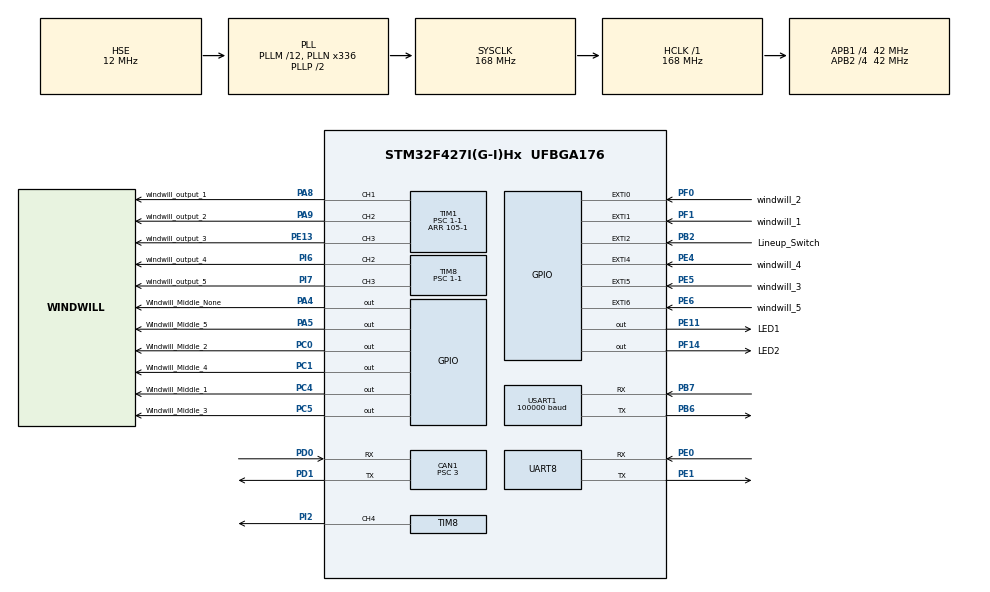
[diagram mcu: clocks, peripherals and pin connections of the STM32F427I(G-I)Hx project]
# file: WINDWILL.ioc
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CAN1.ABOM=ENABLE
CAN1.BS1=CAN_BS1_9TQ
CAN1.BS2=CAN_BS2_4TQ
CAN1.CalculateTimeQuantum=71.42857142857143
CAN1.Prescaler=3
Dma.Request0=TIM1_CH1
Dma.Request1=TIM1_CH2
Dma.Request2=TIM8_CH2
Dma.Request3=TIM8_CH3
Dma.Request4=TIM1_CH3
Dma.Request5=USART1_RX
Dma.Request6=TIM8_CH4/TRIG/COM
Dma.TIM1_CH1.0.Direction=DMA_MEMORY_TO_PERIPH
Dma.TIM1_CH1.0.FIFOMode=DMA_FIFOMODE_DISABLE
Dma.TIM1_CH1.0.Instance=DMA2_Stream1
Dma.TIM1_CH1.0.MemDataAlignment=DMA_MDATAALIGN_HALFWORD
Dma.TIM1_CH1.0.MemInc=DMA_MINC_ENABLE
Dma.TIM1_CH1.0.Mode=DMA_CIRCULAR
Dma.TIM1_CH1.0.PeriphDataAlignment=DMA_PDATAALIGN_HALFWORD
Dma.TIM1_CH1.0.PeriphInc=DMA_PINC_DISABLE
Dma.TIM1_CH1.0.Priority=DMA_PRIORITY_LOW
Dma.TIM1_CH2.1.Direction=DMA_MEMORY_TO_PERIPH
Dma.TIM1_CH2.1.FIFOMode=DMA_FIFOMODE_DISABLE
Dma.TIM1_CH2.1.Instance=DMA2_Stream2
Dma.TIM1_CH2.1.MemDataAlignment=DMA_MDATAALIGN_HALFWORD
Dma.TIM1_CH2.1.MemInc=DMA_MINC_ENABLE
Dma.TIM1_CH2.1.Mode=DMA_CIRCULAR
Dma.TIM1_CH2.1.PeriphDataAlignment=DMA_PDATAALIGN_HALFWORD
Dma.TIM1_CH2.1.PeriphInc=DMA_PINC_DISABLE
Dma.TIM1_CH2.1.Priority=DMA_PRIORITY_LOW
Dma.TIM1_CH3.4.Direction=DMA_MEMORY_TO_PERIPH
Dma.TIM1_CH3.4.FIFOMode=DMA_FIFOMODE_DISABLE
Dma.TIM1_CH3.4.Instance=DMA2_Stream6
Dma.TIM1_CH3.4.MemDataAlignment=DMA_MDATAALIGN_HALFWORD
Dma.TIM1_CH3.4.MemInc=DMA_MINC_ENABLE
Dma.TIM1_CH3.4.Mode=DMA_CIRCULAR
Dma.TIM1_CH3.4.PeriphDataAlignment=DMA_PDATAALIGN_HALFWORD
Dma.TIM1_CH3.4.PeriphInc=DMA_PINC_DISABLE
Dma.TIM1_CH3.4.Priority=DMA_PRIORITY_LOW
Dma.TIM8_CH2.2.Direction=DMA_MEMORY_TO_PERIPH
Dma.TIM8_CH2.2.FIFOMode=DMA_FIFOMODE_DISABLE
Dma.TIM8_CH2.2.Instance=DMA2_Stream3
Dma.TIM8_CH2.2.MemDataAlignment=DMA_MDATAALIGN_HALFWORD
Dma.TIM8_CH2.2.MemInc=DMA_MINC_ENABLE
Dma.TIM8_CH2.2.Mode=DMA_CIRCULAR
Dma.TIM8_CH2.2.PeriphDataAlignment=DMA_PDATAALIGN_HALFWORD
Dma.TIM8_CH2.2.PeriphInc=DMA_PINC_DISABLE
Dma.TIM8_CH2.2.Priority=DMA_PRIORITY_LOW
Dma.TIM8_CH3.3.Direction=DMA_MEMORY_TO_PERIPH
Dma.TIM8_CH3.3.FIFOMode=DMA_FIFOMODE_DISABLE
Dma.TIM8_CH3.3.Instance=DMA2_Stream4
Dma.TIM8_CH3.3.MemDataAlignment=DMA_MDATAALIGN_HALFWORD
Dma.TIM8_CH3.3.MemInc=DMA_MINC_ENABLE
Dma.TIM8_CH3.3.Mode=DMA_CIRCULAR
Dma.TIM8_CH3.3.PeriphDataAlignment=DMA_PDATAALIGN_HALFWORD
Dma.TIM8_CH3.3.PeriphInc=DMA_PINC_DISABLE
Dma.TIM8_CH3.3.Priority=DMA_PRIORITY_LOW
Dma.TIM8_CH4/TRIG/COM.6.Direction=DMA_MEMORY_TO_PERIPH
Dma.TIM8_CH4/TRIG/COM.6.FIFOMode=DMA_FIFOMODE_DISABLE
Dma.TIM8_CH4/TRIG/COM.6.Instance=DMA2_Stream7
Dma.TIM8_CH4/TRIG/COM.6.MemDataAlignment=DMA_MDATAALIGN_HALFWORD
Dma.TIM8_CH4/TRIG/COM.6.MemInc=DMA_MINC_ENABLE
Dma.TIM8_CH4/TRIG/COM.6.Mode=DMA_CIRCULAR
Dma.TIM8_CH4/TRIG/COM.6.PeriphDataAlignment=DMA_PDATAALIGN_HALFWORD
Dma.TIM8_CH4/TRIG/COM.6.PeriphInc=DMA_PINC_DISABLE
Dma.TIM8_CH4/TRIG/COM.6.Priority=DMA_PRIORITY_LOW
Dma.USART1_RX.5.Direction=DMA_PERIPH_TO_MEMORY
Dma.USART1_RX.5.FIFOMode=DMA_FIFOMODE_DISABLE
Dma.USART1_RX.5.Instance=DMA2_Stream5
Dma.USART1_RX.5.MemDataAlignment=DMA_MDATAALIGN_BYTE
Dma.USART1_RX.5.MemInc=DMA_MINC_ENABLE
Dma.USART1_RX.5.Mode=DMA_NORMAL
Dma.USART1_RX.5.PeriphDataAlignment=DMA_PDATAALIGN_BYTE
Dma.USART1_RX.5.PeriphInc=DMA_PINC_DISABLE
Dma.USART1_RX.5.Priority=DMA_PRIORITY_LOW
Mcu.Family=STM32F4
Mcu.Name=STM32F427I(G-I)Hx
Mcu.Package=UFBGA176
NVIC.CAN1_RX0_IRQn=true\:0\:0\:false\:false\:true\:true\:true
NVIC.CAN1_TX_IRQn=true\:0\:0\:true\:false\:true\:true\:true
NVIC.DMA2_Stream1_IRQn=true\:0\:0\:false\:false\:true\:false\:true
NVIC.DMA2_Stream2_IRQn=true\:0\:0\:false\:false\:true\:false\:true
NVIC.DMA2_Stream3_IRQn=true\:0\:0\:false\:false\:true\:false\:true
NVIC.DMA2_Stream4_IRQn=true\:0\:0\:false\:false\:true\:false\:true
NVIC.DMA2_Stream5_IRQn=true\:0\:0\:false\:false\:true\:false\:true
NVIC.DMA2_Stream6_IRQn=true\:0\:0\:false\:false\:true\:false\:true
NVIC.DMA2_Stream7_IRQn=true\:0\:0\:false\:false\:true\:false\:true
NVIC.EXTI0_IRQn=true\:1\:0\:true\:false\:true\:true\:true
NVIC.EXTI1_IRQn=true\:1\:0\:true\:false\:true\:true\:true
NVIC.EXTI2_IRQn=true\:1\:0\:true\:false\:true\:true\:true
NVIC.EXTI4_IRQn=true\:1\:0\:true\:false\:true\:true\:true
NVIC.EXTI9_5_IRQn=true\:1\:0\:true\:false\:true\:true\:true
NVIC.PriorityGroup=NVIC_PRIORITYGROUP_4
NVIC.TIM2_IRQn=true\:2\:0\:true\:false\:true\:true\:true
NVIC.USART1_IRQn=true\:0\:0\:false\:false\:true\:true\:true
PA13.Mode=Serial_Wire
PA13.Signal=SYS_JTMS-SWDIO
PA14.Mode=Serial_Wire
PA14.Signal=SYS_JTCK-SWCLK
PA4.GPIO_Label=Windwill_Middle_None
PA4.Signal=GPIO_Output
PA5.GPIO_Label=Windwill_Middle_5
PA5.Signal=GPIO_Output
PA8.GPIO_Label=windwill_output_1
PA8.Signal=S_TIM1_CH1
PA9.GPIO_Label=windwill_output_2
PA9.Signal=S_TIM1_CH2
PB2/BOOT1.GPIO_Label=Lineup_Switch
PB2/BOOT1.GPIO_ModeDefaultEXTI=GPIO_MODE_IT_RISING
PB2/BOOT1.GPIO_PuPd=GPIO_PULLDOWN
PB2/BOOT1.Signal=GPXTI2
PB6.Mode=Asynchronous
PB6.Signal=USART1_TX
PB7.Mode=Asynchronous
PB7.Signal=USART1_RX
PC0.GPIO_Label=Windwill_Middle_2
PC0.Signal=GPIO_Output
PC1.GPIO_Label=Windwill_Middle_4
PC1.Signal=GPIO_Output
PC4.GPIO_Label=Windwill_Middle_1
PC4.GPIO_PuPd=GPIO_PULLDOWN
PC4.GPIO_Speed=GPIO_SPEED_FREQ_LOW
PC4.Signal=GPIO_Output
PC5.GPIO_Label=Windwill_Middle_3
PC5.Signal=GPIO_Output
PD0.Mode=Master
PD0.Signal=CAN1_RX
PD1.Mode=Master
PD1.Signal=CAN1_TX
PE0.Mode=Asynchronous
PE0.Signal=UART8_RX
PE1.Mode=Asynchronous
PE1.Signal=UART8_TX
PE11.GPIO_Label=LED1
PE11.Signal=GPIO_Output
PE13.GPIO_Label=windwill_output_3
PE13.Signal=S_TIM1_CH3
PE4.GPIO_Label=windwill_4
PE4.GPIO_ModeDefaultEXTI=GPIO_MODE_IT_FALLING
PE4.GPIO_PuPd=GPIO_PULLUP
PE4.Signal=GPXTI4
PE5.GPIO_Label=windwill_3
PE5.GPIO_ModeDefaultEXTI=GPIO_MODE_IT_FALLING
PE5.GPIO_PuPd=GPIO_PULLUP
PE5.Signal=GPXTI5
PE6.GPIO_Label=windwill_5
PE6.GPIO_ModeDefaultEXTI=GPIO_MODE_IT_FALLING
PE6.GPIO_PuPd=GPIO_PULLUP
PE6.Signal=GPXTI6
PF0.GPIO_Label=windwill_2
PF0.GPIO_ModeDefaultEXTI=GPIO_MODE_IT_FALLING
PF0.GPIO_PuPd=GPIO_PULLUP
PF0.Signal=GPXTI0
PF1.GPIO_Label=windwill_1
PF1.GPIO_ModeDefaultEXTI=GPIO_MODE_IT_FALLING
PF1.GPIO_PuPd=GPIO_PULLUP
PF1.Signal=GPXTI1
PF14.GPIO_Label=LED2
PF14.Signal=GPIO_Output
PH0/OSC_IN.Mode=HSE-External-Oscillator
PH0/OSC_IN.Signal=RCC_OSC_IN
PH1/OSC_OUT.Mode=HSE-External-Oscillator
PH1/OSC_OUT.Signal=RCC_OSC_OUT
PI2.Signal=S_TIM8_CH4
PI6.GPIO_Label=windwill_output_4
PI6.Signal=S_TIM8_CH2
PI7.GPIO_Label=windwill_output_5
PI7.Signal=S_TIM8_CH3
ProjectManager.HeapSize=0x200
ProjectManager.StackSize=0x400
ProjectManager.TargetToolchain=STM32CubeIDE
RCC.48MHZClocksFreq_Value=84000000
RCC.AHBFreq_Value=168000000
RCC.APB1CLKDivider=RCC_HCLK_DIV4
RCC.APB1Freq_Value=42000000
RCC.APB1TimFreq_Value=84000000
RCC.APB2CLKDivider=RCC_HCLK_DIV4
RCC.APB2Freq_Value=42000000
RCC.APB2TimFreq_Value=84000000
RCC.CortexFreq_Value=168000000
RCC.HCLKFreq_Value=168000000
RCC.HSE_VALUE=12000000
RCC.HSI_VALUE=16000000
RCC.LSE_VALUE=32768
RCC.PLLM=12
RCC.PLLN=336
RCC.PLLSourceVirtual=RCC_PLLSOURCE_HSE
RCC.SYSCLKFreq_VALUE=168000000
RCC.SYSCLKSource=RCC_SYSCLKSOURCE_PLLCLK
RCC.VCOOutputFreq_Value=336000000
SH.S_TIM1_CH1.0=TIM1_CH1,PWM Generation1 CH1
SH.S_TIM1_CH2.0=TIM1_CH2,PWM Generation2 CH2
SH.S_TIM1_CH3.0=TIM1_CH3,PWM Generation3 CH3
SH.S_TIM8_CH2.0=TIM8_CH2,PWM Generation2 CH2
SH.S_TIM8_CH3.0=TIM8_CH3,PWM Generation3 CH3
SH.S_TIM8_CH4.0=TIM8_CH4,PWM Generation4 CH4
TIM1.Channel-PWM\ Generation1\ CH1=TIM_CHANNEL_1
TIM1.Channel-PWM\ Generation2\ CH2=TIM_CHANNEL_2
TIM1.Channel-PWM\ Generation3\ CH3=TIM_CHANNEL_3
TIM1.Period=105-1
TIM1.Prescaler=1-1
TIM1.Pulse-PWM\ Generation1\ CH1=0
TIM1.Pulse-PWM\ Generation2\ CH2=0
TIM1.Pulse-PWM\ Generation3\ CH3=0
TIM2.Period=500-1
TIM2.Prescaler=8400-1
TIM8.Channel-PWM\ Generation2\ CH2=TIM_CHANNEL_2
TIM8.Channel-PWM\ Generation3\ CH3=TIM_CHANNEL_3
TIM8.Channel-PWM\ Generation4\ CH4=TIM_CHANNEL_4
TIM8.Period=105-1
TIM8.Prescaler=1-1
TIM8.Pulse-PWM\ Generation2\ CH2=0
TIM8.Pulse-PWM\ Generation3\ CH3=0
UART8.VirtualMode=Asynchronous
USART1.BaudRate=100000
USART1.VirtualMode=VM_ASYNC
VP_TIM1_VS_ClockSourceINT.Mode=Internal
VP_TIM2_VS_ClockSourceINT.Mode=Internal
VP_TIM8_VS_ClockSourceINT.Mode=Internal
board=custom

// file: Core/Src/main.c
/* USER CODE BEGIN Header */
/**
  ******************************************************************************
  * @file           : main.c
  * @brief          : Main program body
  ******************************************************************************
  * @attention
  *
  * <h2><center>&copy; Copyright (c) 2021 STMicroelectronics.
  * All rights reserved.</center></h2>
  *
  * This software component is licensed by ST under BSD 3-Clause license,
  * the "License"; You may not use this file except in compliance with the
  * License. You may obtain a copy of the License at:
  *                        opensource.org/licenses/BSD-3-Clause
  *
  ******************************************************************************
  */
/* USER CODE END Header */
#include "main.h"
#include "can.h"
#include "dma.h"
#include "tim.h"
#include "usart.h"
#include "gpio.h"

/* USER CODE BEGIN Includes */
#include "lc_ws2812.h"
#include "lc_exit_nvic.h"
#include "lc_pwm.h"
#include "lc_tim_nvic.h"

#include "pid.h"
#include "bsp_can.h"
#include "bsp_usart.h"
#include "robomaster_vcan.h"

/* USER CODE END Includes */

/* USER CODE BEGIN PM */
  // 待打击装甲板编号
  uint8_t windwill_num = 1;
  // 打击状�?�判定（0为待打击�???1为打击完毕）
  uint8_t windwill_state = 0;
  // 打击完成标志
  uint8_t windwill_strike_completed = 0;

  pid_struct_t windwill_motor_PID ;
/* USER CODE END PM */

void SystemClock_Config(void);

int main(void)
{

  /* MCU Configuration--------------------------------------------------------*/

  /* Reset of all peripherals, Initializes the Flash interface and the Systick. */
  HAL_Init();

  /* Configure the system clock */
  SystemClock_Config();

  /* Initialize all configured peripherals */
  MX_GPIO_Init();
  MX_DMA_Init();
  MX_TIM1_Init();
  MX_TIM8_Init();
  MX_USART1_UART_Init();
  MX_CAN1_Init();
  MX_UART8_Init();
  MX_TIM2_Init();
  /* USER CODE BEGIN 2 */

  LC_Pwm_Init();						// 定时器PWM通道打开

//  GPIO_State_Init();					// 继电器初始化

  LC_Ws2812_Init();						// RGB相关初始�??

  ws2812_lamp_strip_Init();				// 灯条初始�?

  LC_TimInterrupt_Init();				// 定时器中断初始化

  ws2812_lamp_strip_Init();				// 灯条初始�?

  can_user_init(&hcan1);             	// CAN用户初始�??????

  pid_init(&windwill_motor_PID, DELTA_PID      //1号电�??????
								,10            		 //Kp
								,0            		 //Ki
								,0            		 //Kd
								,0 ,1300 ,0); //初始化底盘电机PID结构�??????

  /* USER CODE END 2 */

  /* Infinite loop */
  /* USER CODE BEGIN WHILE */

  while (1)
  {
	  motor_info[0].set_voltage = pid_calc(&windwill_motor_PID
								, 500
								,motor_info[0].set_voltage );
	  set_motor_voltage(1 ,motor_info[0].set_voltage
								,0
								,0
								,0);

	  if( windwill_state == 1 )	// 如果已经打击
	  {
		  windwill_state = 0;	// 清除打击标志�???
		  HAL_GPIO_TogglePin(LED2_GPIO_Port, LED2_Pin);
	  }

	  // 打击完成
	  // 进行初始�?
	  if( windwill_strike_completed == 1 )
	  {
		  ws2812_Mission_Accomplished();	// 打击完成响应
		  windwill_state = 0;				// 初始化打击状�?

		  ws2812_lamp_strip_Init();			// 初始化灯�?
		  GPIO_State_Init();
		  windwill_strike_completed = 0;	// 清除打击完成标志�?
		  windwill_num = 1;					// 装甲板标号归0
	  }

    /* USER CODE END WHILE */

  }
}

void SystemClock_Config(void)
{
  RCC_OscInitTypeDef RCC_OscInitStruct = {0};
  RCC_ClkInitTypeDef RCC_ClkInitStruct = {0};

  /** Configure the main internal regulator output voltage
  */
  __HAL_RCC_PWR_CLK_ENABLE();
  __HAL_PWR_VOLTAGESCALING_CONFIG(PWR_REGULATOR_VOLTAGE_SCALE1);
  /** Initializes the RCC Oscillators according to the specified parameters
  * in the RCC_OscInitTypeDef structure.
  */
  RCC_OscInitStruct.OscillatorType = RCC_OSCILLATORTYPE_HSE;
  RCC_OscInitStruct.HSEState = RCC_HSE_ON;
  RCC_OscInitStruct.PLL.PLLState = RCC_PLL_ON;
  RCC_OscInitStruct.PLL.PLLSource = RCC_PLLSOURCE_HSE;
  RCC_OscInitStruct.PLL.PLLM = 12;
  RCC_OscInitStruct.PLL.PLLN = 336;
  RCC_OscInitStruct.PLL.PLLP = RCC_PLLP_DIV2;
  RCC_OscInitStruct.PLL.PLLQ = 4;
  if (HAL_RCC_OscConfig(&RCC_OscInitStruct) != HAL_OK)
  {
    Error_Handler();
  }
  /** Initializes the CPU, AHB and APB buses clocks
  */
  RCC_ClkInitStruct.ClockType = RCC_CLOCKTYPE_HCLK|RCC_CLOCKTYPE_SYSCLK
                              |RCC_CLOCKTYPE_PCLK1|RCC_CLOCKTYPE_PCLK2;
  RCC_ClkInitStruct.SYSCLKSource = RCC_SYSCLKSOURCE_PLLCLK;
  RCC_ClkInitStruct.AHBCLKDivider = RCC_SYSCLK_DIV1;
  RCC_ClkInitStruct.APB1CLKDivider = RCC_HCLK_DIV4;
  RCC_ClkInitStruct.APB2CLKDivider = RCC_HCLK_DIV4;

  if (HAL_RCC_ClockConfig(&RCC_ClkInitStruct, FLASH_LATENCY_5) != HAL_OK)
  {
    Error_Handler();
  }
}

void Error_Handler(void)
{
}

/************************ (C) COPYRIGHT STMicroelectronics *****END OF FILE****/
